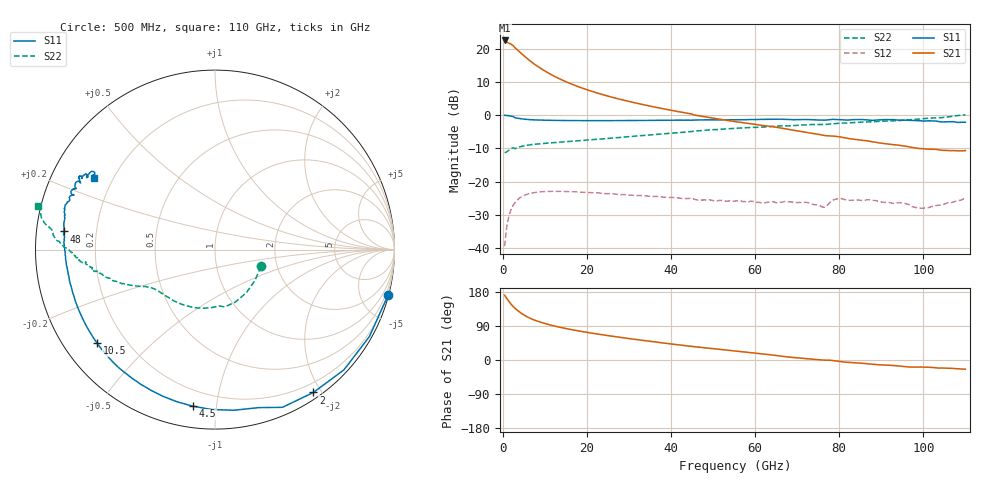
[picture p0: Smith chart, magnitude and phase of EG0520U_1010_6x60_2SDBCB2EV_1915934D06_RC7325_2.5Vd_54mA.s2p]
!File name = EG0520U_1010_6x60_2SDBCB2EV_1915934D06_RC7325_2.5Vd_54mA.s2p
!Base file name = EG0520U_1010_6x60_2SDBCB2EV_1915934D06_RC7325
!Date = 8/23/2019
!Time = 1:08 PM
!Test duration(min) = 0.15
!Test = S-Parameters
!MPTS version = 8.91.5
!State File = C:\Data\PNA\20190821205423\S-Parameters_2019-08-23.sta
!Cal File =
!ComputerName = CMPE-LAB-6
!Comments =
!Attenuation = 0
!Z0 = 50
!Input Power(dBm) = -13.00
!Device ID = EG0520U_1010_6x60_2SDBCB2EV
!Row = 73
!Column = 25
!Technology = QPHT09
!Lot/Wafer = 1915934D06
!Gate Size = 360
!Mask = EG0520
!Cal Standards = GaAs BCB
!Cal Kit = EG2306
!Job Number = 20190821205423
!Device Type = FET
!set_Vg(v) = -1.500
!set_Vd(v) = 2.500
!set_Vd(mA) = 54.000
!file_name = EG0520U_1010_6x60_2SDBCB2EV_1915934D06_RC7325_2.5Vd_54mA.s2p
!Vd(V) = 2.500
!Vd(mA) = 54.144
!Vg(V) = -0.443
!Vg(mA) = -0.001
# GHz  S  DB  R  50
!%	Freq(GHz)  s11(dB)  s11(deg)  s21(dB)  s21(deg)  s12(dB)  s12(deg)  s22(dB)  s22(deg)
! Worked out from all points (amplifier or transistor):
!   220 points, 500 MHz to 110 GHz, reference 50 ohm
!   highest |S21| = 22.4 dB at 500 MHz (marker M1)
!   |S21| within 3 dB of that: start of sweep to 3.678 GHz
!   unconditionally stable (mu >= 1): 34.38 GHz to 105.4 GHz
!   at 18.5 GHz: K = 0.52, MSG = 15.7 dB, |S12| = -23.1 dB
!   at 55.5 GHz: K = 1.47, MAG = 7.8 dB, |S12| = -25.7 dB
!   at 110 GHz: K = -1.09, MSG = 7.2 dB, |S12| = -25.1 dB
!   S11 on the Smith chart (normalised r, x): 500 MHz: 0.10, -7.66; 2 GHz: 0.08, -1.90; 4.5 GHz: 0.11, -0.86; 10.5 GHz: 0.10, -0.35; 48 GHz: 0.08, +0.06; 110 GHz: 0.13, +0.27
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0.5  -0.03 -14.9  22.43 171.0  -39.33 81.6  -11.27 -20.1
1  -0.11 -29.4  21.98 162.5  -33.57 73.7  -11.01 -38.0
2  -0.30 -55.4  21.34 147.8  -28.43 59.4  -10.07 -69.0
2.5  -0.39 -66.8  20.90 141.4  -27.06 53.6  -9.79 -80.5
3  -0.79 -74.5  20.21 136.4  -26.24 49.4  -10.04 -85.5
3.5  -0.90 -83.4  19.64 131.3  -25.49 44.9  -9.79 -93.7
4.5  -1.10 -98.0  18.50 122.9  -24.50 37.6  -9.37 -106.8
5.5  -1.24 -109.5  17.40 116.1  -23.91 32.1  -9.12 -116.4
7  -1.38 -122.6  15.87 108.0  -23.38 25.7  -8.81 -126.3
8.5  -1.45 -132.0  14.53 101.8  -23.07 21.2  -8.64 -132.5
10.5  -1.53 -141.6  12.94 94.9  -22.91 16.4  -8.42 -138.7
14  -1.60 -152.9  10.65 85.5  -22.89 11.0  -8.06 -144.9
19  -1.64 -162.8  8.10 75.0  -23.11 6.2  -7.58 -149.6
26.5  -1.63 -171.9  5.22 62.0  -23.65 3.2  -6.81 -153.3
37  -1.54 -179.8  2.21 46.5  -24.42 3.2  -5.72 -157.5
48  -1.42 173.2  -0.47 32.3  -25.43 3.8  -4.55 -163.0
55.5  -1.37 168.9  -1.95 23.7  -25.73 4.5  -3.92 -166.3
73.5  -1.37 159.3  -5.44 2.2  -26.66 -0.9  -2.79 -173.6
80  -1.36 156.8  -6.48 -4.0  -25.03 2.6  -2.43 -175.4
92  -1.34 151.5  -8.71 -14.0  -26.22 -13.9  -1.73 179.6
100  -1.78 150.2  -10.08 -18.8  -27.93 -12.9  -1.05 176.6
110  -2.12 149.3  -10.63 -24.3  -25.10 -12.7  0.11 166.1
